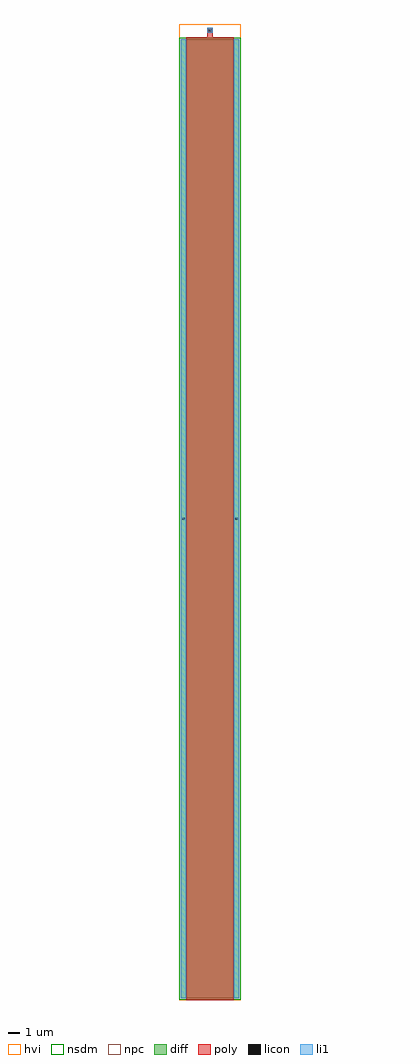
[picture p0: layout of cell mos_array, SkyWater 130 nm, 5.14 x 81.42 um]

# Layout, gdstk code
import gdstk
lib = gdstk.Library(unit=1e-6, precision=1e-09)
def R(c, l, rs):  # rectangles x0, y0, x1, y1
    for r in rs: c.add(gdstk.rectangle(r[:2], r[2:], *l))
diff = (65, 20)
poly = (66, 20)
licon = (66, 44)
li1 = (67, 20)
hvi = (75, 20)
nsdm = (93, 44)
npc = (95, 20)

mos_array = lib.new_cell('mos_array')
R(mos_array, diff, [(0,0,4.84,80)])
R(mos_array, poly, [(0.42,-0.15,4.42,80), (0.42,80,4.42,80.15), (0.42,80,4.42,80.15), (2.21,80.15,2.63,80.97)])
R(mos_array, licon, [(0.125,39.915,0.295,40.085), (4.545,39.915,4.715,40.085), (2.335,80.675,2.505,80.845)])
R(mos_array, li1, [(0,0,0.42,80), (4.42,0,4.84,80), (2.21,80.55,2.63,80.97)])
R(mos_array, hvi, [(-0.15,-0.15,4.99,81.27)])
R(mos_array, nsdm, [(-0.125,-0.125,4.965,80.125)])
R(mos_array, npc, [(2.24,80.58,2.6,80.94)])

lib.write_gds('mos_array.gds')
